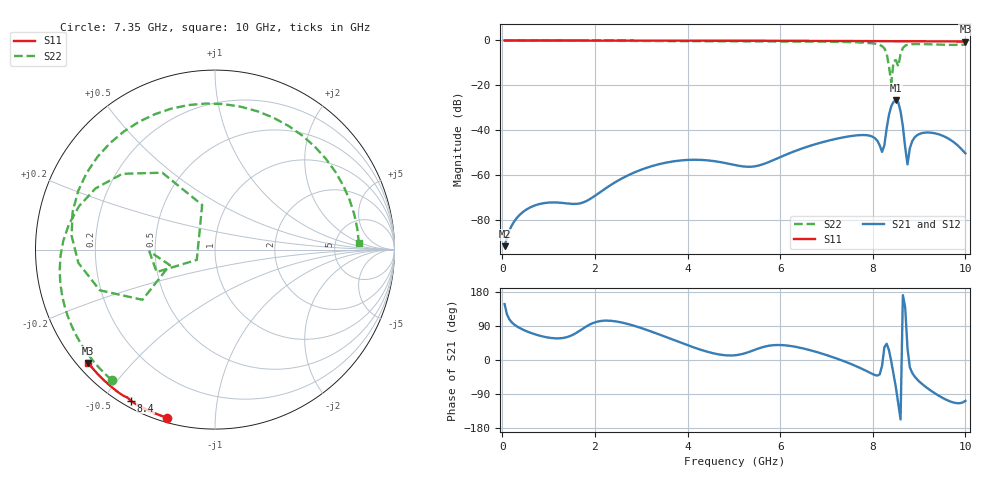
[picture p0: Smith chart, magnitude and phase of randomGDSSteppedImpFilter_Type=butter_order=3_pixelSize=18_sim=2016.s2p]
! freq	dB(S11)	phase(S11)	dB(S12)	phase(S12)
!  dB(S21)	phase(S21)	dB(S22)	phase(S22)
!S-par simulation data
#  GHz  S  DB  R 50
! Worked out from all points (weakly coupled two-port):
!   200 points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, 50 MHz to 10 GHz, reference 50 ohm
!   highest |S21| = -26.60 dB at 8.5 GHz (marker M1); lowest = -91.4 dB at 50 MHz (marker M2)
!   lowest |S11| = -0.5 dB at 10 GHz (marker M3), VSWR 37.06, Z = 1.55 - j19.1 ohm
!   |S11| at or under -10 dB: nowhere
!   |S22| runs from -18.7 to 0.0 dB; largest |S21 - S12| = 0
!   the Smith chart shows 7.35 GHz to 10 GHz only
!   S11 on the Smith chart (normalised r, x): 7.35 GHz: 0.02, -0.75; 8.4 GHz: 0.03, -0.59; 10 GHz: 0.03, -0.38
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0.05  -0.00 -0.8  -91.42 147.5  -91.42 147.5  -0.00 -3.1
1  -0.02 -15.9  -72.05 59.0  -72.05 59.0  -0.07 -61.4
1.75  -0.04 -27.6  -71.95 83.5  -71.95 83.5  -0.14 -107.7
2.65  -0.05 -41.4  -60.60 96.9  -60.60 96.9  -0.21 -166.6
3.4  -0.07 -52.5  -54.90 66.9  -54.90 66.9  -0.28 138.8
4.15  -0.09 -63.4  -53.02 32.5  -53.02 32.5  -0.33 79.3
5.05  -0.12 -75.9  -55.48 12.8  -55.48 12.8  -0.35 9.9
5.9  -0.15 -87.4  -52.76 39.5  -52.76 39.5  -0.38 -45.9
6.7  -0.19 -97.8  -46.47 24.1  -46.47 24.1  -0.48 -91.3
7.35  -0.23 -106.0  -43.12 -1.9  -43.12 -1.9  -0.66 -128.4
7.95  -0.27 -113.5  -42.42 -34.3  -42.42 -34.3  -1.18 -172.5
8.2  -0.29 -116.6  -49.53 -15.6  -49.53 -15.6  -2.52 152.9
8.35  -0.31 -118.5  -33.03 25.8  -33.03 25.8  -11.74 106.0
8.4  -0.33 -119.1  -29.14 -4.3  -29.14 -4.3  -18.68 -150.5
8.45  -0.34 -119.7  -27.29 -37.9  -27.29 -37.9  -9.16 -159.0
8.5  -0.36 -120.3  -26.60 -72.9  -26.60 -72.9  -8.73 -178.4
8.55  -0.37 -120.7  -27.47 -114.7  -27.47 -114.7  -11.51 -161.1
8.6  -0.36 -121.2  -31.50 -156.9  -31.50 -156.9  -6.17 -145.3
8.75  -0.35 -123.1  -55.09 30.0  -55.09 30.0  -1.91 174.5
8.9  -0.36 -124.9  -43.18 -42.9  -43.18 -42.9  -1.59 149.1
9.3  -0.39 -129.8  -41.11 -84.6  -41.11 -84.6  -1.77 93.5
10  -0.47 -138.2  -50.16 -107.8  -50.16 -107.8  -1.91 2.7
